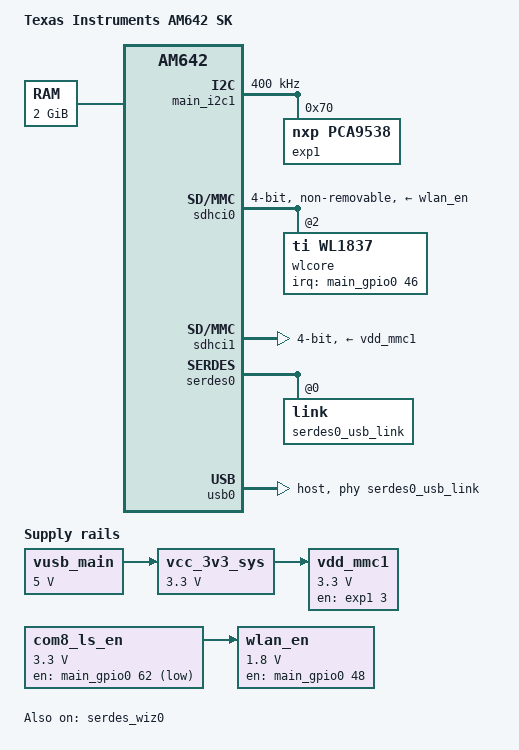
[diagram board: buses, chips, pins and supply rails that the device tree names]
// SPDX-License-Identifier: GPL-2.0
/*
 * Copyright (C) 2021 Texas Instruments Incorporated - https://www.ti.com/
 */

/dts-v1/;

#include <dt-bindings/mux/mux-j721e-wiz.h>
#include <dt-bindings/phy/phy.h>
#include <dt-bindings/gpio/gpio.h>
#include "k3-am642.dtsi"

/ {
	compatible =  "ti,am642-sk", "ti,am642";
	model = "Texas Instruments AM642 SK";

	chosen {
		stdout-path = "serial2:115200n8";
		bootargs = "console=ttyS2,115200n8 earlycon=ns16550a,mmio32,0x02800000";
	};

	memory@80000000 {
		device_type = "memory";
		/* 2G RAM */
		reg = <0x00000000 0x80000000 0x00000000 0x80000000>;

	};

	reserved-memory {
		#address-cells = <2>;
		#size-cells = <2>;
		ranges;

		secure_ddr: optee@9e800000 {
			reg = <0x00 0x9e800000 0x00 0x01800000>; /* for OP-TEE */
			alignment = <0x1000>;
			no-map;
		};

		main_r5fss0_core0_dma_memory_region: r5f-dma-memory@a0000000 {
			compatible = "shared-dma-pool";
			reg = <0x00 0xa0000000 0x00 0x100000>;
			no-map;
		};

		main_r5fss0_core0_memory_region: r5f-memory@a0100000 {
			compatible = "shared-dma-pool";
			reg = <0x00 0xa0100000 0x00 0xf00000>;
			no-map;
		};

		main_r5fss0_core1_dma_memory_region: r5f-dma-memory@a1000000 {
			compatible = "shared-dma-pool";
			reg = <0x00 0xa1000000 0x00 0x100000>;
			no-map;
		};

		main_r5fss0_core1_memory_region: r5f-memory@a1100000 {
			compatible = "shared-dma-pool";
			reg = <0x00 0xa1100000 0x00 0xf00000>;
			no-map;
		};

		main_r5fss1_core0_dma_memory_region: r5f-dma-memory@a2000000 {
			compatible = "shared-dma-pool";
			reg = <0x00 0xa2000000 0x00 0x100000>;
			no-map;
		};

		main_r5fss1_core0_memory_region: r5f-memory@a2100000 {
			compatible = "shared-dma-pool";
			reg = <0x00 0xa2100000 0x00 0xf00000>;
			no-map;
		};

		main_r5fss1_core1_dma_memory_region: r5f-dma-memory@a3000000 {
			compatible = "shared-dma-pool";
			reg = <0x00 0xa3000000 0x00 0x100000>;
			no-map;
		};

		main_r5fss1_core1_memory_region: r5f-memory@a3100000 {
			compatible = "shared-dma-pool";
			reg = <0x00 0xa3100000 0x00 0xf00000>;
			no-map;
		};

		rtos_ipc_memory_region: ipc-memories@a5000000 {
			reg = <0x00 0xa5000000 0x00 0x00800000>;
			alignment = <0x1000>;
			no-map;
		};
	};

	vusb_main: fixed-regulator-vusb-main5v0 {
		/* USB MAIN INPUT 5V DC */
		compatible = "regulator-fixed";
		regulator-name = "vusb_main5v0";
		regulator-min-microvolt = <5000000>;
		regulator-max-microvolt = <5000000>;
		regulator-always-on;
		regulator-boot-on;
	};

	vcc_3v3_sys: fixedregulator-vcc-3v3-sys {
		/* output of LP8733xx */
		compatible = "regulator-fixed";
		regulator-name = "vcc_3v3_sys";
		regulator-min-microvolt = <3300000>;
		regulator-max-microvolt = <3300000>;
		vin-supply = <&vusb_main>;
		regulator-always-on;
		regulator-boot-on;
	};

	vdd_mmc1: fixed-regulator-sd {
		/* TPS2051BD */
		compatible = "regulator-fixed";
		regulator-name = "vdd_mmc1";
		regulator-min-microvolt = <3300000>;
		regulator-max-microvolt = <3300000>;
		regulator-boot-on;
		enable-active-high;
		vin-supply = <&vcc_3v3_sys>;
		gpio = <&exp1 3 GPIO_ACTIVE_HIGH>;
	};

	com8_ls_en: fixed-regulator-com8 {
		compatible = "regulator-fixed";
		regulator-name = "com8_ls_en";
		regulator-min-microvolt = <3300000>;
		regulator-max-microvolt = <3300000>;
		regulator-always-on;
		regulator-boot-on;
		pinctrl-0 = <&main_com8_ls_en_pins_default>;
		pinctrl-names = "default";
		gpio = <&main_gpio0 62 GPIO_ACTIVE_LOW>;
	};

	wlan_en: fixed-regulator-wlan {
		/* output of SN74AVC4T245RSVR */
		compatible = "regulator-fixed";
		regulator-name = "wlan_en";
		regulator-min-microvolt = <1800000>;
		regulator-max-microvolt = <1800000>;
		enable-active-high;
		pinctrl-0 = <&main_wlan_en_pins_default>;
		pinctrl-names = "default";
		vin-supply = <&com8_ls_en>;
		gpio = <&main_gpio0 48 GPIO_ACTIVE_HIGH>;
	};
};

&main_pmx0 {
	main_mmc1_pins_default: main-mmc1-pins-default {
		pinctrl-single,pins = <
			AM64X_IOPAD(0x0294, PIN_INPUT, 0) /* (J19) MMC1_CMD */
			AM64X_IOPAD(0x0290, PIN_INPUT, 0) /* (#N/A) MMC1_CLKLB */
			AM64X_IOPAD(0x028c, PIN_INPUT, 0) /* (L20) MMC1_CLK */
			AM64X_IOPAD(0x0288, PIN_INPUT, 0) /* (K21) MMC1_DAT0 */
			AM64X_IOPAD(0x0284, PIN_INPUT, 0) /* (L21) MMC1_DAT1 */
			AM64X_IOPAD(0x0280, PIN_INPUT, 0) /* (K19) MMC1_DAT2 */
			AM64X_IOPAD(0x027c, PIN_INPUT, 0) /* (K18) MMC1_DAT3 */
			AM64X_IOPAD(0x0298, PIN_INPUT, 0) /* (D19) MMC1_SDCD */
		>;
	};

	main_usb0_pins_default: main-usb0-pins-default {
		pinctrl-single,pins = <
			AM64X_IOPAD(0x02a8, PIN_OUTPUT, 0) /* (E19) USB0_DRVVBUS */
		>;
	};

	main_i2c1_pins_default: main-i2c1-pins-default {
		pinctrl-single,pins = <
			AM64X_IOPAD(0x0268, PIN_INPUT_PULLUP, 0) /* (C18) I2C1_SCL */
			AM64X_IOPAD(0x026c, PIN_INPUT_PULLUP, 0) /* (B19) I2C1_SDA */
		>;
	};

	main_wlan_en_pins_default: main-wlan-en-pins-default {
		pinctrl-single,pins = <
			AM64X_IOPAD(0x00c4, PIN_OUTPUT_PULLUP, 7) /* (V8) GPIO0_48 */
		>;
	};

	main_com8_ls_en_pins_default: main-com8-ls-en-pins-default {
		pinctrl-single,pins = <
			AM64X_IOPAD(0x00fc, PIN_OUTPUT, 7) /* (U7) PRG1_PRU0_GPO17.GPIO0_62 */
		>;
	};

	main_wlan_pins_default: main-wlan-pins-default {
		pinctrl-single,pins = <
			AM64X_IOPAD(0x00bc, PIN_INPUT, 7) /* (U8) GPIO0_46 */
		>;
	};
};

&main_uart1 {
	/* main_uart1 is reserved for firmware usage */
	status = "reserved";
};

&main_uart2 {
	status = "disabled";
};

&main_uart3 {
	status = "disabled";
};

&main_uart4 {
	status = "disabled";
};

&main_uart5 {
	status = "disabled";
};

&main_uart6 {
	status = "disabled";
};

&main_i2c1 {
	pinctrl-names = "default";
	pinctrl-0 = <&main_i2c1_pins_default>;
	clock-frequency = <400000>;

	exp1: gpio@70 {
		compatible = "nxp,pca9538";
		reg = <0x70>;
		gpio-controller;
		#gpio-cells = <2>;
		gpio-line-names = "GPIO_CPSW2_RST", "GPIO_CPSW1_RST",
				  "PRU_DETECT", "MMC1_SD_EN",
				  "VPP_LDO_EN", "RPI_PS_3V3_En",
				  "RPI_PS_5V0_En", "RPI_HAT_DETECT";
	};
};

&main_i2c3 {
	status = "disabled";
};

&sdhci0 {
	vmmc-supply = <&wlan_en>;
	bus-width = <4>;
	non-removable;
	cap-power-off-card;
	keep-power-in-suspend;
	ti,driver-strength-ohm = <50>;

	#address-cells = <1>;
	#size-cells = <0>;
	wlcore: wlcore@2 {
		compatible = "ti,wl1837";
		reg = <2>;
		pinctrl-0 = <&main_wlan_pins_default>;
		pinctrl-names = "default";
		interrupt-parent = <&main_gpio0>;
		interrupts = <46 IRQ_TYPE_EDGE_FALLING>;
	};
};

&sdhci1 {
	/* SD/MMC */
	vmmc-supply = <&vdd_mmc1>;
	pinctrl-names = "default";
	bus-width = <4>;
	pinctrl-0 = <&main_mmc1_pins_default>;
	ti,driver-strength-ohm = <50>;
	disable-wp;
};

&pcie0_rc {
	status = "disabled";
};

&pcie0_ep {
	status = "disabled";
};

&mailbox0_cluster2 {
	mbox_main_r5fss0_core0: mbox-main-r5fss0-core0 {
		ti,mbox-rx = <0 0 2>;
		ti,mbox-tx = <1 0 2>;
	};

	mbox_main_r5fss0_core1: mbox-main-r5fss0-core1 {
		ti,mbox-rx = <2 0 2>;
		ti,mbox-tx = <3 0 2>;
	};
};

&mailbox0_cluster3 {
	status = "disabled";
};

&mailbox0_cluster4 {
	mbox_main_r5fss1_core0: mbox-main-r5fss1-core0 {
		ti,mbox-rx = <0 0 2>;
		ti,mbox-tx = <1 0 2>;
	};

	mbox_main_r5fss1_core1: mbox-main-r5fss1-core1 {
		ti,mbox-rx = <2 0 2>;
		ti,mbox-tx = <3 0 2>;
	};
};

&mailbox0_cluster5 {
	status = "disabled";
};

&mailbox0_cluster6 {
	mbox_m4_0: mbox-m4-0 {
		ti,mbox-rx = <0 0 2>;
		ti,mbox-tx = <1 0 2>;
	};
};

&mailbox0_cluster7 {
	status = "disabled";
};

&oc_sram {
	main_r5fss0_core0_sram: r5f-sram@40000 {
		reg = <0x40000 0x40000>;
	};

	main_r5fss0_core1_sram: r5f-sram@80000 {
		reg = <0x80000 0x40000>;
	};

	main_r5fss1_core0_sram: r5f-sram@c0000 {
		reg = <0xc0000 0x40000>;
	};

	main_r5fss1_core1_sram: r5f-sram@100000 {
		reg = <0x100000 0x40000>;
	};
};

&main_r5fss0_core0 {
	mboxes = <&mailbox0_cluster2 &mbox_main_r5fss0_core0>;
	memory-region = <&main_r5fss0_core0_dma_memory_region>,
			<&main_r5fss0_core0_memory_region>;
	sram = <&main_r5fss0_core0_sram>;
};

&main_r5fss0_core1 {
	mboxes = <&mailbox0_cluster2 &mbox_main_r5fss0_core1>;
	memory-region = <&main_r5fss0_core1_dma_memory_region>,
			<&main_r5fss0_core1_memory_region>;
	sram = <&main_r5fss0_core1_sram>;
};

&main_r5fss1_core0 {
	mboxes = <&mailbox0_cluster4 &mbox_main_r5fss1_core0>;
	memory-region = <&main_r5fss1_core0_dma_memory_region>,
			<&main_r5fss1_core0_memory_region>;
	sram = <&main_r5fss1_core0_sram>;
};

&main_r5fss1_core1 {
	mboxes = <&mailbox0_cluster4 &mbox_main_r5fss1_core1>;
	memory-region = <&main_r5fss1_core1_dma_memory_region>,
			<&main_r5fss1_core1_memory_region>;
	sram = <&main_r5fss1_core1_sram>;
};

&serdes_ln_ctrl {
	idle-states = <AM64_SERDES0_LANE0_USB>;
};

&serdes_wiz0 {
	status = "okay";
};

&serdes0 {
	serdes0_usb_link: link@0 {
		reg = <0>;
		cdns,num-lanes = <1>;
		#phy-cells = <0>;
		cdns,phy-type = <PHY_TYPE_USB3>;
		resets = <&serdes_wiz0 1>;
	};
};

&usbss0 {
	ti,vbus-divider;
};

&usb0 {
	dr_mode = "host";
	maximum-speed = "super-speed";
	pinctrl-names = "default";
	pinctrl-0 = <&main_usb0_pins_default>;
	phys = <&serdes0_usb_link>;
	phy-names = "cdns3,usb3-phy";
};
